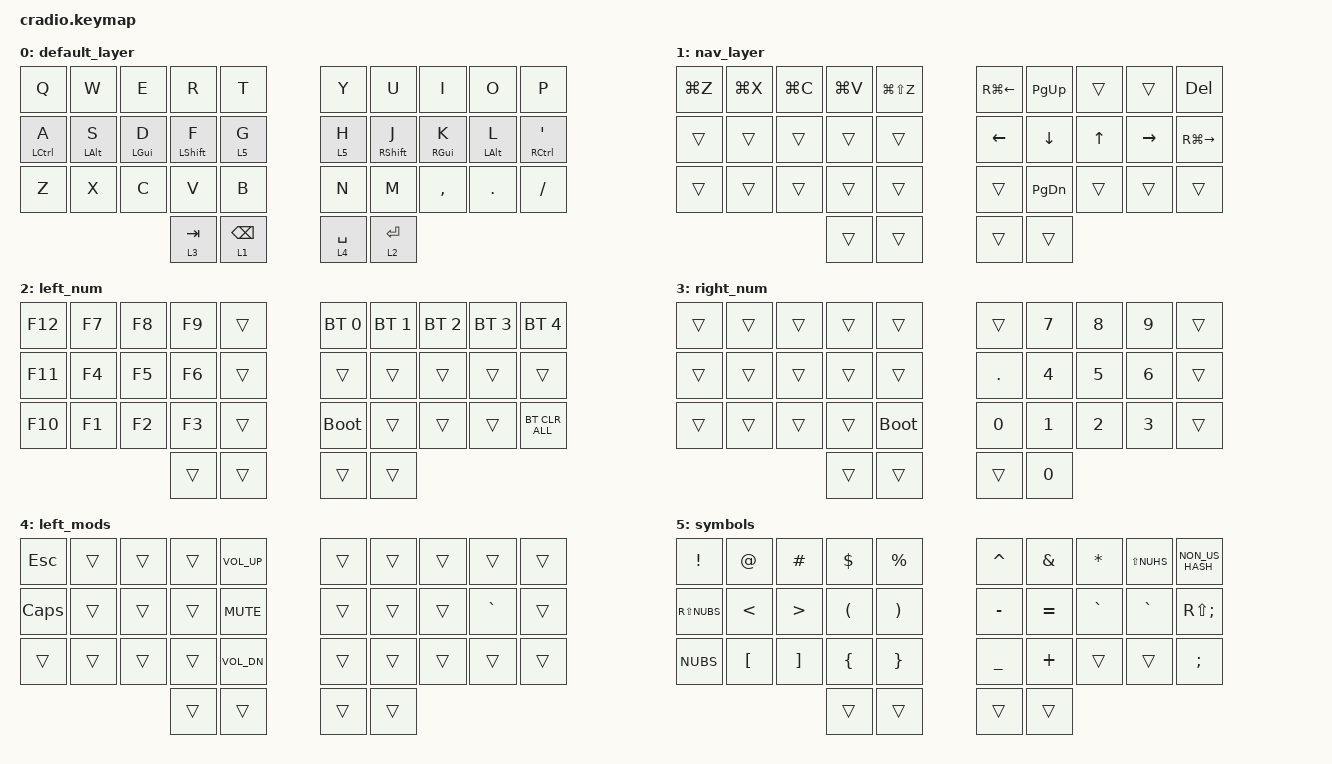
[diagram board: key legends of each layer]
/*
 * Copyright (c) 2020 The ZMK Contributors
 *
 * SPDX-License-Identifier: MIT
 */

#undef ZMK_BEHAVIORS_KEEP_ALL

#include <behaviors.dtsi>
#include <dt-bindings/zmk/bt.h>
#include <dt-bindings/zmk/keys.h>

#define NAV_L 1
#define OTHER_L 2
#define NUM_L 3
#define SYM_L 4

// Using layer taps on thumbs, having quick tap as well helps w/ repeating space/backspace

&lt { quick-tap-ms = <200>; };

/ {
    behaviors {
        hm: homerow_mods {
            compatible = "zmk,behavior-hold-tap";
            #binding-cells = <2>;
            tapping-term-ms = <200>;
            flavor = "tap-preferred";
            bindings = <&kp>, <&kp>;
        };
    };

    keymap {
        compatible = "zmk,keymap";

        default_layer {
            bindings = <
&kp Q               &kp W       &kp E           &kp R        &kp T              &kp Y        &kp U        &kp I            &kp O       &kp P
&hm LEFT_CONTROL A  &hm LALT S  &hm LEFT_GUI D  &hm LSHFT F  &lt 5 G            &lt 5 H      &hm RSHFT J  &hm RIGHT_GUI K  &hm LALT L  &hm RIGHT_CONTROL APOSTROPHE
&kp Z               &kp X       &kp C           &kp V        &kp B              &kp N        &kp M        &kp COMMA        &kp DOT     &kp FSLH
                                                &lt 3 TAB    &lt 1 BACKSPACE    &lt 4 SPACE  &lt 2 ENTER
            >;
        };

        nav_layer {
            bindings = <
&kp LG(Z)  &kp LG(X)  &kp LG(C)  &kp LG(V)  &kp LG(LS(Z))    &kp RG(LEFT_ARROW) &kp PAGE_UP    &trans    &trans     &kp DELETE
&trans     &trans     &trans     &trans     &trans           &kp LEFT           &kp DOWN  &kp UP    &kp RIGHT  &kp RG(RIGHT_ARROW)
&trans     &trans     &trans     &trans     &trans           &trans             &kp PAGE_DOWN  &trans    &trans     &trans
                                 &trans     &trans           &trans             &trans
            >;
        };

        left_num {
            bindings = <
&kp F12  &kp F7  &kp F8  &kp F9  &trans   &bt BT_SEL 0  &bt BT_SEL 1  &bt BT_SEL 2  &bt BT_SEL 3  &bt BT_SEL 4
&kp F11  &kp F4  &kp F5  &kp F6  &trans   &trans        &trans        &trans        &trans        &trans
&kp F10  &kp F1  &kp F2  &kp F3  &trans   &bootloader   &trans        &trans        &trans        &bt BT_CLR_ALL
                         &trans  &trans   &trans        &trans
            >;
        };

        right_num {
            bindings = <
&trans  &trans  &trans  &trans  &trans         &trans   &kp N7  &kp N8  &kp N9  &trans
&trans  &trans  &trans  &trans  &trans         &kp DOT  &kp N4  &kp N5  &kp N6  &trans
&trans  &trans  &trans  &trans  &bootloader    &kp N0   &kp N1  &kp N2  &kp N3  &trans
                        &trans  &trans         &trans   &kp N0
            >;
        };

        left_mods {
            bindings = <
&kp ESC   &trans  &trans  &trans  &kp C_VOLUME_UP &trans  &trans  &trans  &trans     &trans
&kp CAPS  &trans  &trans  &trans  &kp K_MUTE      &trans  &trans  &trans  &kp GRAVE  &trans
&trans    &trans  &trans  &trans  &kp C_VOL_DN    &trans  &trans  &trans  &trans     &trans
                          &trans  &trans          &trans  &trans
            >;
        };

        //         left_symbols {
        //             bindings = <
        // &kp EXCLAMATION  &kp DOUBLE_QUOTES  &kp HASH           &kp DOLLAR            &kp PERCENT              &trans  &trans  &trans  &trans  &trans
        // &kp RS(NUBS)     &kp LESS_THAN      &kp GREATER_THAN   &kp LEFT_PARENTHESIS  &kp RIGHT_PARENTHESIS    &trans  &trans  &trans  &trans  &trans
        // &kp NUBS         &kp LEFT_BRACKET   &kp RIGHT_BRACKET  &kp LEFT_BRACE        &kp RIGHT_BRACE          &trans  &trans  &trans  &trans  &trans
        //                                                        &trans                &trans                   &trans  &trans
        //             >;
        //         };
        // 
        //         right_symbols {
        //             bindings = <
        // &trans  &trans  &trans  &trans  &trans    &kp CARET  &kp AMPERSAND  &kp ASTERISK  &kp TILDE  &kp NON_US_HASH
        // &trans  &trans  &trans  &trans  &trans    &kp MINUS  &kp EQUAL      &trans        &kp GRAVE  &kp RS(SEMICOLON)
        // &trans  &trans  &trans  &trans  &trans    &kp UNDER  &kp PLUS       &trans        &trans     &kp SEMICOLON
        //                         &trans  &trans    &trans     &trans
        //             >;
        //         };

        symbols {
            bindings = <
&kp EXCLAMATION  &kp AT_SIGN       &kp HASH           &kp DOLLAR            &kp PERCENT              &kp CARET  &kp AMPERSAND  &kp ASTERISK  &kp LS(NUHS)  &kp NON_US_HASH
&kp RS(NUBS)     &kp LESS_THAN     &kp GREATER_THAN   &kp LEFT_PARENTHESIS  &kp RIGHT_PARENTHESIS    &kp MINUS  &kp EQUAL      &kp GRAVE     &kp GRAVE     &kp RS(SEMICOLON)
&kp NUBS         &kp LEFT_BRACKET  &kp RIGHT_BRACKET  &kp LEFT_BRACE        &kp RIGHT_BRACE          &kp UNDER  &kp PLUS       &trans        &trans        &kp SEMICOLON
                                                      &trans                &trans                   &trans     &trans
            >;
        };
    };
};
